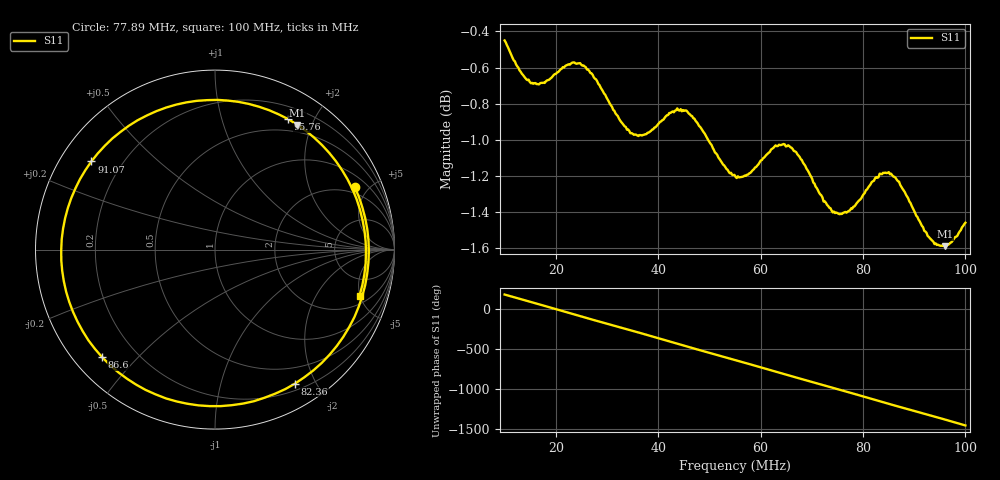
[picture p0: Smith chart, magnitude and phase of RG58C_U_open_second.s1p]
# HZ S RI R 50
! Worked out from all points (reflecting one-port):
!   404 points, 10 MHz to 100 MHz, reference 50 ohm
!   lowest |S11| = -1.6 dB at 95.98 MHz (marker M1), VSWR 10.96, Z = 19.7 + j89.5 ohm
!   phase of S11 starts at 176 deg and turns -1634 deg over the sweep
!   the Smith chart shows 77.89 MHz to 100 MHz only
!   S11 on the Smith chart (normalised r, x): 77.89 MHz: 1.58, +4.07; 82.36 MHz: 0.28, -1.73; 86.6 MHz: 0.08, -0.40; 91.07 MHz: 0.09, +0.32; 95.76 MHz: 0.35, +1.65; 100 MHz: 2.74, -4.94
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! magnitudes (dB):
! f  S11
! 10 MHz  -0.4
! 13.35 MHz  -0.6
! 15.36 MHz  -0.7
! 18.04 MHz  -0.7
! 21.39 MHz  -0.6
! 25.86 MHz  -0.6
! 32.56 MHz  -0.9
! 36.58 MHz  -1.0
! 43.95 MHz  -0.8
! 47.07 MHz  -0.9
! 52.88 MHz  -1.1
! 55.11 MHz  -1.2
! 57.57 MHz  -1.2
! 63.15 MHz  -1.0
! 66.28 MHz  -1.1
! 73.65 MHz  -1.4
! 75.43 MHz  -1.4
! 77.67 MHz  -1.4
! 77.89 MHz  -1.4
! 82.36 MHz  -1.2
! 84.59 MHz  -1.2
! 86.6 MHz  -1.2
! 88.83 MHz  -1.3
! 91.07 MHz  -1.5
! 93.52 MHz  -1.6
! 95.76 MHz  -1.6
! 95.98 MHz  -1.6
! 100 MHz  -1.5
